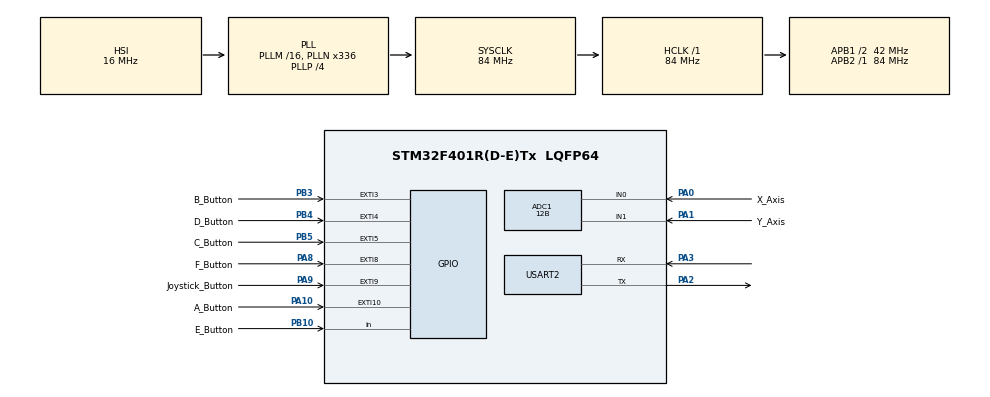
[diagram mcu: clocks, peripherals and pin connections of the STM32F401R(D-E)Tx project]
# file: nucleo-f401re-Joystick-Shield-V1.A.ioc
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ADC1.Channel-0\#ChannelRegularConversion=ADC_CHANNEL_0
ADC1.Channel-1\#ChannelRegularConversion=ADC_CHANNEL_1
ADC1.ContinuousConvMode=ENABLE
ADC1.DMAContinuousRequests=ENABLE
ADC1.NbrOfConversion=2
ADC1.NbrOfConversionFlag=1
ADC1.Rank-0\#ChannelRegularConversion=1
ADC1.Rank-1\#ChannelRegularConversion=2
ADC1.Resolution=ADC_RESOLUTION_12B
ADC1.SamplingTime-0\#ChannelRegularConversion=ADC_SAMPLETIME_112CYCLES
ADC1.SamplingTime-1\#ChannelRegularConversion=ADC_SAMPLETIME_112CYCLES
ADC1.master=1
Dma.ADC1.0.Direction=DMA_PERIPH_TO_MEMORY
Dma.ADC1.0.FIFOMode=DMA_FIFOMODE_DISABLE
Dma.ADC1.0.Instance=DMA2_Stream0
Dma.ADC1.0.MemDataAlignment=DMA_MDATAALIGN_WORD
Dma.ADC1.0.MemInc=DMA_MINC_ENABLE
Dma.ADC1.0.Mode=DMA_CIRCULAR
Dma.ADC1.0.PeriphDataAlignment=DMA_PDATAALIGN_WORD
Dma.ADC1.0.PeriphInc=DMA_PINC_DISABLE
Dma.ADC1.0.Priority=DMA_PRIORITY_LOW
Dma.Request0=ADC1
Mcu.Family=STM32F4
Mcu.Name=STM32F401R(D-E)Tx
Mcu.Package=LQFP64
NVIC.DMA2_Stream0_IRQn=true\:0\:0\:false\:false\:true\:false\:true
NVIC.EXTI15_10_IRQn=true\:1\:0\:true\:false\:true\:true\:true
NVIC.EXTI3_IRQn=true\:1\:0\:true\:false\:true\:true\:true
NVIC.EXTI4_IRQn=true\:1\:0\:true\:false\:true\:true\:true
NVIC.EXTI9_5_IRQn=true\:1\:0\:true\:false\:true\:true\:true
NVIC.PriorityGroup=NVIC_PRIORITYGROUP_1
PA0-WKUP.GPIO_Label=X_Axis
PA0-WKUP.Signal=ADCx_IN0
PA1.GPIO_Label=Y_Axis
PA1.Signal=ADCx_IN1
PA10.GPIO_Label=A_Button
PA10.Signal=GPXTI10
PA13.Mode=Serial_Wire
PA13.Signal=SYS_JTMS-SWDIO
PA14.Mode=Serial_Wire
PA14.Signal=SYS_JTCK-SWCLK
PA2.Mode=Asynchronous
PA2.Signal=USART2_TX
PA3.Mode=Asynchronous
PA3.Signal=USART2_RX
PA8.GPIO_Label=F_Button
PA8.Signal=GPXTI8
PA9.GPIO_Label=Joystick_Button
PA9.Signal=GPXTI9
PB10.GPIO_Label=E_Button
PB10.Signal=GPIO_Input
PB3.GPIO_Label=B_Button
PB3.Signal=GPXTI3
PB4.GPIO_Label=D_Button
PB4.Signal=GPXTI4
PB5.GPIO_Label=C_Button
PB5.Signal=GPXTI5
PC14-OSC32_IN.Mode=LSE-External-Oscillator
PC14-OSC32_IN.Signal=RCC_OSC32_IN
PC15-OSC32_OUT.Mode=LSE-External-Oscillator
PC15-OSC32_OUT.Signal=RCC_OSC32_OUT
PH0\ -\ OSC_IN.Mode=HSE-External-Oscillator
PH0\ -\ OSC_IN.Signal=RCC_OSC_IN
PH1\ -\ OSC_OUT.Mode=HSE-External-Oscillator
PH1\ -\ OSC_OUT.Signal=RCC_OSC_OUT
ProjectManager.HeapSize=0x200
ProjectManager.StackSize=0x400
ProjectManager.TargetToolchain=STM32CubeIDE
RCC.AHBFreq_Value=84000000
RCC.APB1CLKDivider=RCC_HCLK_DIV2
RCC.APB1Freq_Value=42000000
RCC.APB1TimFreq_Value=84000000
RCC.APB2Freq_Value=84000000
RCC.APB2TimFreq_Value=84000000
RCC.CortexFreq_Value=84000000
RCC.HCLKFreq_Value=84000000
RCC.HSE_VALUE=8000000
RCC.HSI_VALUE=16000000
RCC.PLLN=336
RCC.PLLP=RCC_PLLP_DIV4
RCC.PLLQ=7
RCC.SYSCLKFreq_VALUE=84000000
RCC.SYSCLKSource=RCC_SYSCLKSOURCE_PLLCLK
RCC.VCOOutputFreq_Value=336000000
SH.ADCx_IN0.0=ADC1_IN0,IN0
SH.ADCx_IN1.0=ADC1_IN1,IN1
USART2.VirtualMode=VM_ASYNC
board=NUCLEO-F401RE

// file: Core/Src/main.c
/* USER CODE BEGIN Header */
/**
  ******************************************************************************
  * @file           : main.c
  * @brief          : Main program body
  ******************************************************************************
  * @attention
  *
  * <h2><center>&copy; Copyright (c) 2020 STMicroelectronics.
  * All rights reserved.</center></h2>
  *
  * This software component is licensed by ST under BSD 3-Clause license,
  * the "License"; You may not use this file except in compliance with the
  * License. You may obtain a copy of the License at:
  *                        opensource.org/licenses/BSD-3-Clause
  *
  ******************************************************************************
  */
/* USER CODE END Header */
#include "main.h"

/* USER CODE BEGIN Includes */

#include <string.h>
#include <stdio.h>

/* USER CODE END Includes */

ADC_HandleTypeDef hadc1;
DMA_HandleTypeDef hdma_adc1;

UART_HandleTypeDef huart2;

/* USER CODE BEGIN PV */

uint32_t JoystickBuffer[2];

/* USER CODE END PV */

void SystemClock_Config(void);
static void MX_GPIO_Init(void);
static void MX_DMA_Init(void);
static void MX_USART2_UART_Init(void);
static void MX_ADC1_Init(void);

int main(void)
{

  /* MCU Configuration--------------------------------------------------------*/

  /* Reset of all peripherals, Initializes the Flash interface and the Systick. */
  HAL_Init();

  /* Configure the system clock */
  SystemClock_Config();

  /* Initialize all configured peripherals */
  MX_GPIO_Init();
  MX_DMA_Init();
  MX_USART2_UART_Init();
  MX_ADC1_Init();
  /* USER CODE BEGIN 2 */

  HAL_ADC_Start_DMA(&hadc1, JoystickBuffer, 2);
  //snprintf(str, 100, "X: %lu\n Y: %lu\n", JoystickBuffer[0], JoystickBuffer[1]);

  /* USER CODE END 2 */

  /* Infinite loop */
  while (1)
  {

    /* USER CODE BEGIN 3 */

	  if (JoystickBuffer[0] >= 3000)
	  {
		  Print("R");
	  }
	  else if (JoystickBuffer[0] <= 1000)
	  {
		  Print("L");
	  }

	  if (JoystickBuffer[1] >= 3000)
	  {
		  Print("U");
	  }
	  else if (JoystickBuffer[1] <= 1000)
	  {
		  Print("D");
	  }

	  HAL_Delay(750);
  }
  /* USER CODE END 3 */
}

void SystemClock_Config(void)
{
  RCC_OscInitTypeDef RCC_OscInitStruct = {0};
  RCC_ClkInitTypeDef RCC_ClkInitStruct = {0};

  /** Configure the main internal regulator output voltage
  */
  __HAL_RCC_PWR_CLK_ENABLE();
  __HAL_PWR_VOLTAGESCALING_CONFIG(PWR_REGULATOR_VOLTAGE_SCALE2);
  /** Initializes the RCC Oscillators according to the specified parameters
  * in the RCC_OscInitTypeDef structure.
  */
  RCC_OscInitStruct.OscillatorType = RCC_OSCILLATORTYPE_HSI;
  RCC_OscInitStruct.HSIState = RCC_HSI_ON;
  RCC_OscInitStruct.HSICalibrationValue = RCC_HSICALIBRATION_DEFAULT;
  RCC_OscInitStruct.PLL.PLLState = RCC_PLL_ON;
  RCC_OscInitStruct.PLL.PLLSource = RCC_PLLSOURCE_HSI;
  RCC_OscInitStruct.PLL.PLLM = 16;
  RCC_OscInitStruct.PLL.PLLN = 336;
  RCC_OscInitStruct.PLL.PLLP = RCC_PLLP_DIV4;
  RCC_OscInitStruct.PLL.PLLQ = 7;
  if (HAL_RCC_OscConfig(&RCC_OscInitStruct) != HAL_OK)
  {
    Error_Handler();
  }
  /** Initializes the CPU, AHB and APB buses clocks
  */
  RCC_ClkInitStruct.ClockType = RCC_CLOCKTYPE_HCLK|RCC_CLOCKTYPE_SYSCLK
                              |RCC_CLOCKTYPE_PCLK1|RCC_CLOCKTYPE_PCLK2;
  RCC_ClkInitStruct.SYSCLKSource = RCC_SYSCLKSOURCE_PLLCLK;
  RCC_ClkInitStruct.AHBCLKDivider = RCC_SYSCLK_DIV1;
  RCC_ClkInitStruct.APB1CLKDivider = RCC_HCLK_DIV2;
  RCC_ClkInitStruct.APB2CLKDivider = RCC_HCLK_DIV1;

  if (HAL_RCC_ClockConfig(&RCC_ClkInitStruct, FLASH_LATENCY_2) != HAL_OK)
  {
    Error_Handler();
  }
}

static void MX_ADC1_Init(void)
{

  ADC_ChannelConfTypeDef sConfig = {0};

  /** Configure the global features of the ADC (Clock, Resolution, Data Alignment and number of conversion)
  */
  hadc1.Instance = ADC1;
  hadc1.Init.ClockPrescaler = ADC_CLOCK_SYNC_PCLK_DIV4;
  hadc1.Init.Resolution = ADC_RESOLUTION_12B;
  hadc1.Init.ScanConvMode = ENABLE;
  hadc1.Init.ContinuousConvMode = ENABLE;
  hadc1.Init.DiscontinuousConvMode = DISABLE;
  hadc1.Init.ExternalTrigConvEdge = ADC_EXTERNALTRIGCONVEDGE_NONE;
  hadc1.Init.ExternalTrigConv = ADC_SOFTWARE_START;
  hadc1.Init.DataAlign = ADC_DATAALIGN_RIGHT;
  hadc1.Init.NbrOfConversion = 2;
  hadc1.Init.DMAContinuousRequests = ENABLE;
  hadc1.Init.EOCSelection = ADC_EOC_SINGLE_CONV;
  if (HAL_ADC_Init(&hadc1) != HAL_OK)
  {
    Error_Handler();
  }
  /** Configure for the selected ADC regular channel its corresponding rank in the sequencer and its sample time.
  */
  sConfig.Channel = ADC_CHANNEL_0;
  sConfig.Rank = 1;
  sConfig.SamplingTime = ADC_SAMPLETIME_112CYCLES;
  if (HAL_ADC_ConfigChannel(&hadc1, &sConfig) != HAL_OK)
  {
    Error_Handler();
  }
  /** Configure for the selected ADC regular channel its corresponding rank in the sequencer and its sample time.
  */
  sConfig.Channel = ADC_CHANNEL_1;
  sConfig.Rank = 2;
  if (HAL_ADC_ConfigChannel(&hadc1, &sConfig) != HAL_OK)
  {
    Error_Handler();
  }

}

static void MX_USART2_UART_Init(void)
{

  huart2.Instance = USART2;
  huart2.Init.BaudRate = 9600;
  huart2.Init.WordLength = UART_WORDLENGTH_8B;
  huart2.Init.StopBits = UART_STOPBITS_1;
  huart2.Init.Parity = UART_PARITY_NONE;
  huart2.Init.Mode = UART_MODE_TX_RX;
  huart2.Init.HwFlowCtl = UART_HWCONTROL_NONE;
  huart2.Init.OverSampling = UART_OVERSAMPLING_16;
  if (HAL_UART_Init(&huart2) != HAL_OK)
  {
    Error_Handler();
  }

}

static void MX_DMA_Init(void)
{

  /* DMA controller clock enable */
  __HAL_RCC_DMA2_CLK_ENABLE();

  /* DMA interrupt init */
  /* DMA2_Stream0_IRQn interrupt configuration */
  HAL_NVIC_SetPriority(DMA2_Stream0_IRQn, 0, 0);
  HAL_NVIC_EnableIRQ(DMA2_Stream0_IRQn);

}

static void MX_GPIO_Init(void)
{
  GPIO_InitTypeDef GPIO_InitStruct = {0};

  /* GPIO Ports Clock Enable */
  __HAL_RCC_GPIOC_CLK_ENABLE();
  __HAL_RCC_GPIOH_CLK_ENABLE();
  __HAL_RCC_GPIOA_CLK_ENABLE();
  __HAL_RCC_GPIOB_CLK_ENABLE();

  /*Configure GPIO pin : E_Button_Pin */
  GPIO_InitStruct.Pin = E_Button_Pin;
  GPIO_InitStruct.Mode = GPIO_MODE_INPUT;
  GPIO_InitStruct.Pull = GPIO_NOPULL;
  HAL_GPIO_Init(E_Button_GPIO_Port, &GPIO_InitStruct);

  /*Configure GPIO pins : F_Button_Pin Joystick_Button_Pin A_Button_Pin */
  GPIO_InitStruct.Pin = F_Button_Pin|Joystick_Button_Pin|A_Button_Pin;
  GPIO_InitStruct.Mode = GPIO_MODE_IT_RISING;
  GPIO_InitStruct.Pull = GPIO_NOPULL;
  HAL_GPIO_Init(GPIOA, &GPIO_InitStruct);

  /*Configure GPIO pins : B_Button_Pin D_Button_Pin C_Button_Pin */
  GPIO_InitStruct.Pin = B_Button_Pin|D_Button_Pin|C_Button_Pin;
  GPIO_InitStruct.Mode = GPIO_MODE_IT_RISING;
  GPIO_InitStruct.Pull = GPIO_NOPULL;
  HAL_GPIO_Init(GPIOB, &GPIO_InitStruct);

  /* EXTI interrupt init*/
  HAL_NVIC_SetPriority(EXTI3_IRQn, 1, 0);
  HAL_NVIC_EnableIRQ(EXTI3_IRQn);

  HAL_NVIC_SetPriority(EXTI4_IRQn, 1, 0);
  HAL_NVIC_EnableIRQ(EXTI4_IRQn);

  HAL_NVIC_SetPriority(EXTI9_5_IRQn, 1, 0);
  HAL_NVIC_EnableIRQ(EXTI9_5_IRQn);

  HAL_NVIC_SetPriority(EXTI15_10_IRQn, 1, 0);
  HAL_NVIC_EnableIRQ(EXTI15_10_IRQn);

}

/* USER CODE BEGIN 4 */

void Print(char *line)
{
	HAL_UART_Transmit(&huart2, (uint8_t *) line, strlen (line), HAL_MAX_DELAY);
}

/* USER CODE END 4 */

void Error_Handler(void)
{
}

/************************ (C) COPYRIGHT STMicroelectronics *****END OF FILE****/
